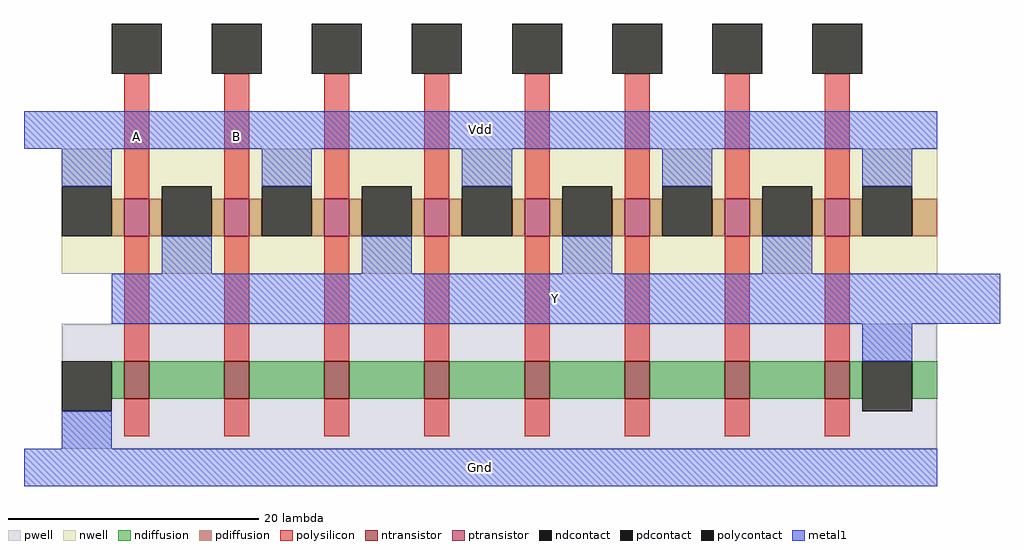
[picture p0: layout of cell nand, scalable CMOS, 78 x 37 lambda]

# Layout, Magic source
magic
tech scmos
<< pwell >>
rect -140 -32 -70 -22
<< nwell >>
rect -140 -18 -70 -8
<< polysilicon >>
rect -135 -12 -133 -2
rect -127 -12 -125 -2
rect -119 -12 -117 -2
rect -111 -12 -109 -2
rect -103 -12 -101 -2
rect -95 -12 -93 -2
rect -87 -12 -85 -2
rect -79 -12 -77 -2
rect -135 -25 -133 -15
rect -127 -25 -125 -15
rect -119 -25 -117 -15
rect -111 -25 -109 -15
rect -103 -25 -101 -15
rect -95 -25 -93 -15
rect -87 -25 -85 -15
rect -79 -25 -77 -15
rect -135 -31 -133 -28
rect -127 -31 -125 -28
rect -119 -31 -117 -28
rect -111 -31 -109 -28
rect -103 -31 -101 -28
rect -95 -31 -93 -28
rect -87 -31 -85 -28
rect -79 -31 -77 -28
<< ndiffusion >>
rect -136 -28 -135 -25
rect -133 -28 -127 -25
rect -125 -28 -119 -25
rect -117 -28 -111 -25
rect -109 -28 -103 -25
rect -101 -28 -95 -25
rect -93 -28 -87 -25
rect -85 -28 -79 -25
rect -77 -28 -76 -25
rect -72 -28 -70 -25
<< pdiffusion >>
rect -136 -15 -135 -12
rect -133 -15 -132 -12
rect -128 -15 -127 -12
rect -125 -15 -124 -12
rect -120 -15 -119 -12
rect -117 -15 -116 -12
rect -112 -15 -111 -12
rect -109 -15 -108 -12
rect -104 -15 -103 -12
rect -101 -15 -100 -12
rect -96 -15 -95 -12
rect -93 -15 -92 -12
rect -88 -15 -87 -12
rect -85 -15 -84 -12
rect -80 -15 -79 -12
rect -77 -15 -76 -12
rect -72 -15 -70 -12
<< metal1 >>
rect -143 -8 -70 -5
rect -140 -11 -136 -8
rect -124 -11 -120 -8
rect -108 -11 -104 -8
rect -92 -11 -88 -8
rect -76 -11 -72 -8
rect -132 -18 -128 -15
rect -116 -18 -112 -15
rect -100 -18 -96 -15
rect -84 -18 -80 -15
rect -136 -22 -65 -18
rect -76 -25 -72 -22
rect -140 -32 -136 -29
rect -143 -35 -70 -32
<< ntransistor >>
rect -135 -28 -133 -25
rect -127 -28 -125 -25
rect -119 -28 -117 -25
rect -111 -28 -109 -25
rect -103 -28 -101 -25
rect -95 -28 -93 -25
rect -87 -28 -85 -25
rect -79 -28 -77 -25
<< ptransistor >>
rect -135 -15 -133 -12
rect -127 -15 -125 -12
rect -119 -15 -117 -12
rect -111 -15 -109 -12
rect -103 -15 -101 -12
rect -95 -15 -93 -12
rect -87 -15 -85 -12
rect -79 -15 -77 -12
<< polycontact >>
rect -136 -2 -132 2
rect -128 -2 -124 2
rect -120 -2 -116 2
rect -112 -2 -108 2
rect -104 -2 -100 2
rect -96 -2 -92 2
rect -88 -2 -84 2
rect -80 -2 -76 2
<< ndcontact >>
rect -140 -29 -136 -25
rect -76 -29 -72 -25
<< pdcontact >>
rect -140 -15 -136 -11
rect -132 -15 -128 -11
rect -124 -15 -120 -11
rect -116 -15 -112 -11
rect -108 -15 -104 -11
rect -100 -15 -96 -11
rect -92 -15 -88 -11
rect -84 -15 -80 -11
rect -76 -15 -72 -11
<< labels >>
rlabel metal1 -143 -35 -70 -32 1 Gnd
rlabel metal1 -143 -8 -70 -5 1 Vdd
rlabel polysilicon -135 -12 -133 -2 1 A
rlabel polysilicon -127 -12 -125 -2 1 B
rlabel metal1 -136 -22 -65 -18 1 Y
<< end >>
